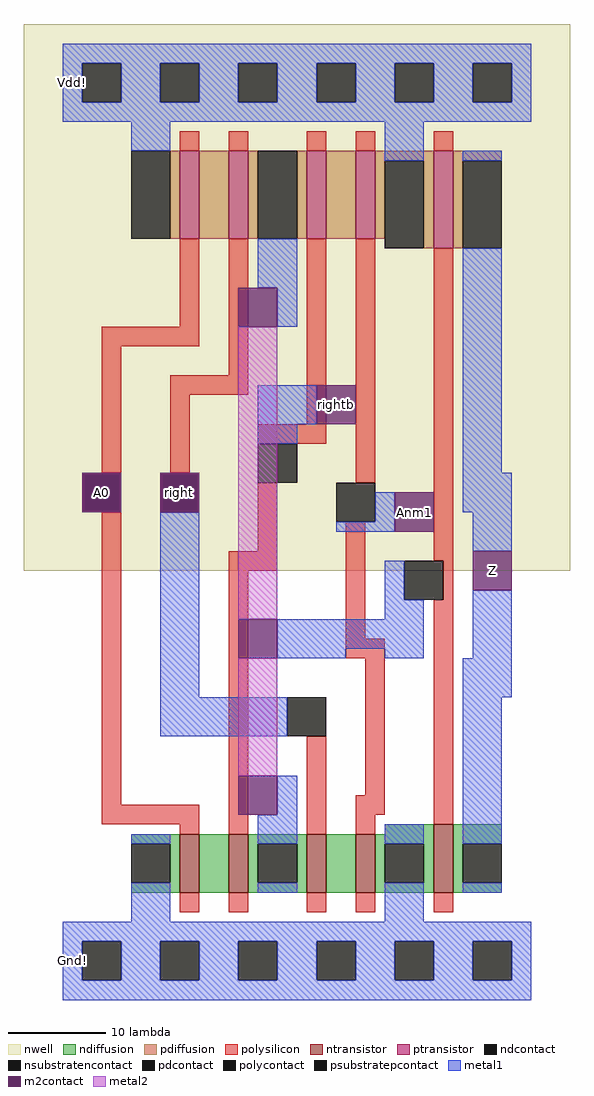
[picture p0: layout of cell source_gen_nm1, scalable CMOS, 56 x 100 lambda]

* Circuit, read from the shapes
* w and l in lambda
.subckt source_gen_nm1 A0 Anm1 Gnd! Vdd! Z right rightb
M1 n1 A0 Gnd! Gnd! nfet w=6 l=2
M2 n2 rightb n1 Gnd! nfet w=6 l=2
M3 n3 right n2 Gnd! nfet w=6 l=2
M4 Gnd! Anm1 n3 Gnd! nfet w=6 l=2
M5 Z n2 Gnd! Gnd! nfet w=7 l=2
M6 n4 A0 Vdd! Vdd! pfet w=9 l=2
M7 n2 right n4 Vdd! pfet w=9 l=2
M8 n5 rightb n2 Vdd! pfet w=9 l=2
M9 Vdd! Anm1 n5 Vdd! pfet w=9 l=2
M10 Z n2 Vdd! Vdd! pfet w=10 l=2
.ends

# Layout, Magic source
magic
tech scmos
<< nwell >>
rect -6 40 50 96
<< ntransistor >>
rect 10 7 12 13
rect 15 7 17 13
rect 23 7 25 13
rect 28 7 30 13
rect 36 7 38 14
<< ptransistor >>
rect 10 74 12 83
rect 15 74 17 83
rect 23 74 25 83
rect 28 74 30 83
rect 36 73 38 83
<< ndiffusion >>
rect 31 13 36 14
rect 5 12 10 13
rect 9 8 10 12
rect 5 7 10 8
rect 12 7 15 13
rect 17 12 23 13
rect 17 8 18 12
rect 22 8 23 12
rect 17 7 23 8
rect 25 7 28 13
rect 30 12 36 13
rect 30 8 31 12
rect 35 8 36 12
rect 30 7 36 8
rect 38 12 43 14
rect 38 8 39 12
rect 38 7 43 8
<< pdiffusion >>
rect 9 74 10 83
rect 12 74 15 83
rect 17 74 18 83
rect 22 74 23 83
rect 25 74 28 83
rect 30 82 36 83
rect 30 74 31 82
rect 35 73 36 82
rect 38 82 43 83
rect 38 73 39 82
<< ndcontact >>
rect 5 8 9 12
rect 18 8 22 12
rect 31 8 35 12
rect 39 8 43 12
<< pdcontact >>
rect 5 74 9 83
rect 18 74 22 83
rect 31 73 35 82
rect 39 73 43 82
<< psubstratepcontact >>
rect 0 -2 4 2
rect 8 -2 12 2
rect 16 -2 20 2
rect 24 -2 28 2
rect 32 -2 36 2
rect 40 -2 44 2
<< nsubstratencontact >>
rect 0 88 4 92
rect 8 88 12 92
rect 16 88 20 92
rect 24 88 28 92
rect 32 88 36 92
rect 40 88 44 92
<< polysilicon >>
rect 10 83 12 85
rect 15 83 17 85
rect 23 83 25 85
rect 28 83 30 85
rect 36 83 38 85
rect 10 65 12 74
rect 2 63 12 65
rect 2 50 4 63
rect 15 60 17 74
rect 9 58 17 60
rect 9 50 11 58
rect 23 55 25 74
rect 18 53 25 55
rect 28 49 30 74
rect 2 16 4 46
rect 18 42 20 49
rect 15 40 20 42
rect 2 14 12 16
rect 10 13 12 14
rect 15 13 17 40
rect 27 33 29 45
rect 36 41 38 73
rect 37 37 38 41
rect 27 31 31 33
rect 23 13 25 23
rect 29 17 31 31
rect 28 15 31 17
rect 28 13 30 15
rect 36 14 38 37
rect 10 5 12 7
rect 15 5 17 7
rect 23 5 25 7
rect 28 5 30 7
rect 36 5 38 7
<< polycontact >>
rect 0 46 4 50
rect 8 46 12 50
rect 18 49 22 53
rect 26 45 30 49
rect 33 37 37 41
rect 21 23 25 27
<< metal1 >>
rect -2 92 46 94
rect -2 88 0 92
rect 4 88 8 92
rect 12 88 16 92
rect 20 88 24 92
rect 28 88 32 92
rect 36 88 40 92
rect 44 88 46 92
rect -2 86 46 88
rect 5 83 9 86
rect 18 69 22 74
rect 31 82 35 86
rect 39 82 43 83
rect 20 65 22 69
rect 18 55 24 59
rect 18 53 22 55
rect 39 50 43 73
rect 8 27 12 46
rect 30 45 32 48
rect 26 44 32 45
rect 39 46 44 50
rect 40 42 44 46
rect 31 37 33 41
rect 31 35 35 37
rect 20 32 35 35
rect 20 31 27 32
rect 31 31 35 32
rect 40 31 44 38
rect 39 27 44 31
rect 8 23 21 27
rect 20 15 22 19
rect 5 12 9 13
rect 5 4 9 8
rect 18 12 22 15
rect 18 7 22 8
rect 31 12 35 14
rect 31 4 35 8
rect 39 12 43 27
rect 39 7 43 8
rect -2 2 46 4
rect -2 -2 0 2
rect 4 -2 8 2
rect 12 -2 16 2
rect 20 -2 24 2
rect 28 -2 32 2
rect 36 -2 40 2
rect 44 -2 46 2
rect -2 -4 46 -2
<< m2contact >>
rect 16 65 20 69
rect 24 55 28 59
rect 0 46 4 50
rect 8 46 12 50
rect 32 44 36 48
rect 40 38 44 42
rect 16 31 20 35
rect 16 15 20 19
<< metal2 >>
rect 16 35 20 65
rect 16 19 20 31
<< labels >>
rlabel metal1 -1 0 -1 0 2 Gnd!
rlabel metal1 -1 90 -1 90 3 Vdd!
rlabel m2contact 42 40 42 40 1 Z
rlabel m2contact 34 46 34 46 1 Anm1
rlabel m2contact 2 48 2 48 1 A0
rlabel m2contact 10 48 10 48 1 right
rlabel m2contact 26 57 26 57 1 rightb
<< end >>
